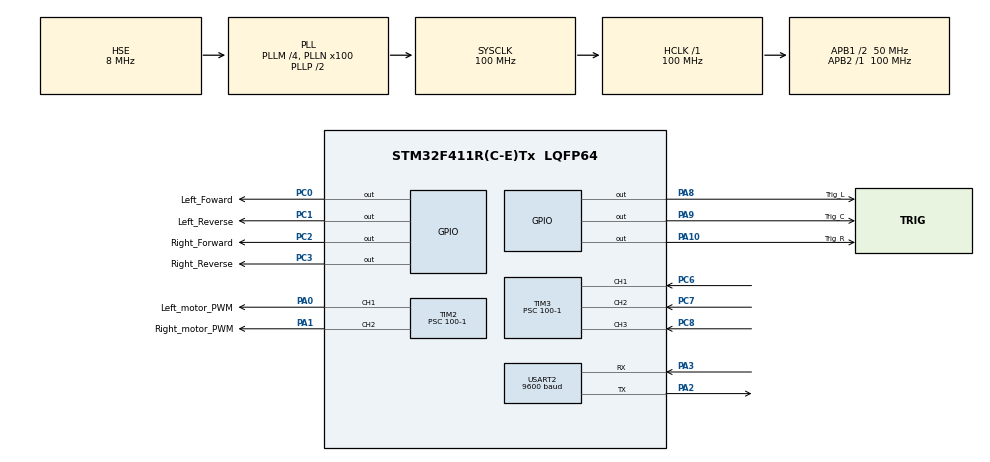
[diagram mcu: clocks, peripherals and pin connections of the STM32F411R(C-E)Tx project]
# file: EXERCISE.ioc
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FREERTOS.Tasks01=Motortask,24,128,StartMotorTask,Default,NULL,Dynamic,NULL,NULL;SensorTask,24,128,StartSensorTask,Default,NULL,Dynamic,NULL,NULL
FREERTOS.configUSE_NEWLIB_REENTRANT=1
Mcu.Family=STM32F4
Mcu.Name=STM32F411R(C-E)Tx
Mcu.Package=LQFP64
NVIC.PriorityGroup=NVIC_PRIORITYGROUP_4
NVIC.TIM1_TRG_COM_TIM11_IRQn=true\:5\:0\:false\:false\:true\:false\:false\:true\:true
NVIC.TIM3_IRQn=true\:5\:0\:false\:false\:true\:true\:true\:true\:true
NVIC.TimeBase=TIM1_TRG_COM_TIM11_IRQn
NVIC.TimeBaseIP=TIM11
NVIC.USART2_IRQn=true\:5\:0\:false\:false\:true\:true\:true\:true\:true
PA0-WKUP.GPIO_Label=Left_motor_PWM
PA0-WKUP.Signal=S_TIM2_CH1_ETR
PA1.GPIO_Label=Right_motor_PWM
PA1.Signal=S_TIM2_CH2
PA10.GPIO_Label=Trig_R
PA10.Signal=GPIO_Output
PA13.Mode=Serial_Wire
PA13.Signal=SYS_JTMS-SWDIO
PA14.Mode=Serial_Wire
PA14.Signal=SYS_JTCK-SWCLK
PA2.Mode=Asynchronous
PA2.Signal=USART2_TX
PA3.Mode=Asynchronous
PA3.Signal=USART2_RX
PA8.GPIO_Label=Trig_L
PA8.Signal=GPIO_Output
PA9.GPIO_Label=Trig_C
PA9.Signal=GPIO_Output
PC0.GPIO_Label=Left_Foward
PC0.Signal=GPIO_Output
PC1.GPIO_Label=Left_Reverse
PC1.Signal=GPIO_Output
PC2.GPIO_Label=Right_Forward
PC2.Signal=GPIO_Output
PC3.GPIO_Label=Right_Reverse
PC3.Signal=GPIO_Output
PC6.Signal=S_TIM3_CH1
PC7.Signal=S_TIM3_CH2
PC8.Signal=S_TIM3_CH3
PH0\ -\ OSC_IN.Mode=HSE-External-Clock-Source
PH0\ -\ OSC_IN.Signal=RCC_OSC_IN
PH1\ -\ OSC_OUT.Mode=HSE-External-Clock-Source
PH1\ -\ OSC_OUT.Signal=RCC_OSC_OUT
ProjectManager.HeapSize=0x200
ProjectManager.StackSize=0x400
ProjectManager.TargetToolchain=STM32CubeIDE
RCC.48MHZClocksFreq_Value=50000000
RCC.AHBFreq_Value=100000000
RCC.APB1CLKDivider=RCC_HCLK_DIV2
RCC.APB1Freq_Value=50000000
RCC.APB1TimFreq_Value=100000000
RCC.APB2Freq_Value=100000000
RCC.APB2TimFreq_Value=100000000
RCC.CortexFreq_Value=100000000
RCC.FLatency-AdvancedSettings=FLASH_LATENCY_3
RCC.HCLKFreq_Value=100000000
RCC.HSE_VALUE=8000000
RCC.HSI_VALUE=16000000
RCC.LSE_VALUE=32768
RCC.PLLM=4
RCC.PLLN=100
RCC.PLLSourceVirtual=RCC_PLLSOURCE_HSE
RCC.SYSCLKFreq_VALUE=100000000
RCC.SYSCLKSource=RCC_SYSCLKSOURCE_PLLCLK
RCC.VCOOutputFreq_Value=200000000
SH.S_TIM2_CH1_ETR.0=TIM2_CH1,PWM Generation1 CH1
SH.S_TIM2_CH2.0=TIM2_CH2,PWM Generation2 CH2
SH.S_TIM3_CH1.0=TIM3_CH1,Input_Capture1_from_TI1
SH.S_TIM3_CH2.0=TIM3_CH2,Input_Capture2_from_TI2
SH.S_TIM3_CH3.0=TIM3_CH3,Input_Capture3_from_TI3
TIM2.Channel-PWM\ Generation1\ CH1=TIM_CHANNEL_1
TIM2.Channel-PWM\ Generation2\ CH2=TIM_CHANNEL_2
TIM2.Period=1000-1
TIM2.Prescaler=100-1
TIM3.Channel-Input_Capture1_from_TI1=TIM_CHANNEL_1
TIM3.Channel-Input_Capture2_from_TI2=TIM_CHANNEL_2
TIM3.Channel-Input_Capture3_from_TI3=TIM_CHANNEL_3
TIM3.Prescaler=100-1
USART2.BaudRate=9600
USART2.VirtualMode=VM_ASYNC
VP_FREERTOS_VS_CMSIS_V2.Mode=CMSIS_V2
VP_SYS_VS_tim11.Mode=TIM11
VP_TIM2_VS_ClockSourceINT.Mode=Internal
VP_TIM3_VS_ClockSourceINT.Mode=Internal
board=NUCLEO-F411RE

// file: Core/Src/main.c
/* USER CODE BEGIN Header */
/**
  ******************************************************************************
  * @file           : main.c
  * @brief          : Main program body
  ******************************************************************************
  */
/* USER CODE END Header */
#include "main.h"
#include "cmsis_os.h"
#include "tim.h"
#include "usart.h"
#include "gpio.h"

/* USER CODE BEGIN PV */
// ⭐️ 블루투스 수신 및 상태 변수
uint8_t rx_data;
char car_mode = 'M'; // 'M'anual (수동 모드), 'A'uto (자율주행 모드)
int current_speed = 50;  // 현재 설정된 최고 속도 (0~100%)

// ⭐️ 현재 수동 조작 목표값
int manual_throttle = 0;
int manual_steering = 0;
/* USER CODE END PV */

void SystemClock_Config(void);
void MX_FREERTOS_Init(void);
/* USER CODE BEGIN PFP */
// ⭐️ 모터 제어 믹싱 함수 이름표 등록
void Motor_Drive(int throttle, int steering);
/* USER CODE END PFP */

int main(void)
{

  /* MCU Configuration--------------------------------------------------------*/

  /* Reset of all peripherals, Initializes the Flash interface and the Systick. */
  HAL_Init();

  /* Configure the system clock */
  SystemClock_Config();

  /* Initialize all configured peripherals */
  MX_GPIO_Init();
  MX_TIM2_Init();
  MX_TIM3_Init();
  MX_USART2_UART_Init();
  /* USER CODE BEGIN 2 */
  // 1. 모터 제어용 타이머(TIM2) PWM 출력 시작 (PA0, PA1)
  HAL_TIM_PWM_Start(&htim2, TIM_CHANNEL_1);
  HAL_TIM_PWM_Start(&htim2, TIM_CHANNEL_2);
  HAL_TIM_Base_Start(&htim2);

  // 2. 초음파 센서 거리 측정용 1us 스톱워치(TIM3) 시작!
  HAL_TIM_Base_Start(&htim3);

  // 3. ⭐️ 블루투스 UART 수신 인터럽트 가동 (1바이트씩 받기 시작!)
  HAL_UART_Receive_IT(&huart2, &rx_data, 1);
  /* USER CODE END 2 */

  /* Init scheduler */
  osKernelInitialize();  /* Call init function for freertos objects (in cmsis_os2.c) */
  MX_FREERTOS_Init();

  /* Start scheduler */
  osKernelStart();

  /* We should never get here as control is now taken by the scheduler */

  /* Infinite loop */
  /* USER CODE BEGIN WHILE */
  while (1)
  {
      // FreeRTOS가 실행되면 메인 루프는 더 이상 돌지 않으므로 비워둡니다.
      // (자율주행 코드는 나중에 freertos.c의 Task 안에서 작성하게 됩니다!)
  }
    /* USER CODE END WHILE */

}

void SystemClock_Config(void)
{
  RCC_OscInitTypeDef RCC_OscInitStruct = {0};
  RCC_ClkInitTypeDef RCC_ClkInitStruct = {0};

  /** Configure the main internal regulator output voltage
  */
  __HAL_RCC_PWR_CLK_ENABLE();
  __HAL_PWR_VOLTAGESCALING_CONFIG(PWR_REGULATOR_VOLTAGE_SCALE1);

  /** Initializes the RCC Oscillators according to the specified parameters
  * in the RCC_OscInitTypeDef structure.
  */
  RCC_OscInitStruct.OscillatorType = RCC_OSCILLATORTYPE_HSE;
  RCC_OscInitStruct.HSEState = RCC_HSE_BYPASS;
  RCC_OscInitStruct.PLL.PLLState = RCC_PLL_ON;
  RCC_OscInitStruct.PLL.PLLSource = RCC_PLLSOURCE_HSE;
  RCC_OscInitStruct.PLL.PLLM = 4;
  RCC_OscInitStruct.PLL.PLLN = 100;
  RCC_OscInitStruct.PLL.PLLP = RCC_PLLP_DIV2;
  RCC_OscInitStruct.PLL.PLLQ = 4;
  if (HAL_RCC_OscConfig(&RCC_OscInitStruct) != HAL_OK)
  {
    Error_Handler();
  }

  /** Initializes the CPU, AHB and APB buses clocks
  */
  RCC_ClkInitStruct.ClockType = RCC_CLOCKTYPE_HCLK|RCC_CLOCKTYPE_SYSCLK
                              |RCC_CLOCKTYPE_PCLK1|RCC_CLOCKTYPE_PCLK2;
  RCC_ClkInitStruct.SYSCLKSource = RCC_SYSCLKSOURCE_PLLCLK;
  RCC_ClkInitStruct.AHBCLKDivider = RCC_SYSCLK_DIV1;
  RCC_ClkInitStruct.APB1CLKDivider = RCC_HCLK_DIV2;
  RCC_ClkInitStruct.APB2CLKDivider = RCC_HCLK_DIV1;

  if (HAL_RCC_ClockConfig(&RCC_ClkInitStruct, FLASH_LATENCY_3) != HAL_OK)
  {
    Error_Handler();
  }
}

/* USER CODE BEGIN 4 */

// =========================================================================
// ⭐️ 1. 블루투스 UART 인터럽트 수신 처리 (테슬라 오토파일럿 방식 적용!)
// =========================================================================
void HAL_UART_RxCpltCallback(UART_HandleTypeDef *huart)
{
    if (huart->Instance == USART2) {

        // 1. 받은 알파벳(명령어) 판별
    	switch(rx_data) {
    	            // 방향키 입력
    	            case 'F': car_mode = 'M'; manual_throttle = current_speed;  manual_steering = 0; break;
    	            case 'B': car_mode = 'M'; manual_throttle = -current_speed; manual_steering = 0; break;
    	            case 'L': car_mode = 'M'; manual_throttle = 0; manual_steering = -current_speed; break;
    	            case 'R': car_mode = 'M'; manual_throttle = 0; manual_steering = current_speed;  break;

    	            // 정지 (버튼에서 손을 뗄 때 전송되는 '0' 및 Square 버튼 'S')
    	            case 'S':
    	            case '0':
    	                car_mode = 'M'; manual_throttle = 0; manual_steering = 0; break;

    	            // 속도 증가 (Triangle 버튼)
    	            case 'T':
    	                current_speed += 10;
    	                if(current_speed > 100) current_speed = 100;
    	                if(car_mode == 'M' && manual_throttle > 0) manual_throttle = current_speed;
    	                else if(car_mode == 'M' && manual_throttle < 0) manual_throttle = -current_speed;
    	                break;

    	            // 속도 감소 (Cross 버튼)
    	            case 'X':
    	                current_speed -= 10;
    	                if(current_speed < 0) current_speed = 0;
    	                if(car_mode == 'M' && manual_throttle > 0) manual_throttle = current_speed;
    	                else if(car_mode == 'M' && manual_throttle < 0) manual_throttle = -current_speed;
    	                break;

    	            // 자율주행 모드 (Start 버튼)
    	            case 'A':
    	                car_mode = 'A';
    	                break;

    	            // 수동 정지 모드 (Pause 버튼)
    	            case 'P':
    	            case 'M':
    	                car_mode = 'M'; manual_throttle = 0; manual_steering = 0; break;
    	        }

        // 2. 수동 모드일 때만 모터를 즉각 돌려줍니다! (자율주행일 땐 무시)
        if (car_mode == 'M') {
            Motor_Drive(manual_throttle, manual_steering);
        }

        // 3. 다음 알파벳을 받기 위해 다시 인터럽트 대기
        HAL_UART_Receive_IT(&huart2, &rx_data, 1);
    }
}

// =========================================================================
// ⭐️ 2. 모터 드라이브 믹싱 & 출력 함수 (PA0, PA1 / PC0~PC3)
// =========================================================================
void Motor_Drive(int throttle, int steering)
{
    // 좌/우 바퀴 속도 믹싱 계산
    int left_speed = throttle + steering;
    int right_speed = throttle - steering;

    // 안전장치: 속도는 -100 ~ 100 을 넘을 수 없음
    if(left_speed > 100) left_speed = 100;
    if(left_speed < -100) left_speed = -100;
    if(right_speed > 100) right_speed = 100;
    if(right_speed < -100) right_speed = -100;

    // ---------------- 좌측 모터 방향 제어 (PC0, PC1) ----------------
    if(left_speed >= 0) {
        HAL_GPIO_WritePin(GPIOC, GPIO_PIN_0, GPIO_PIN_SET);   // Left Forward (PC0)
        HAL_GPIO_WritePin(GPIOC, GPIO_PIN_1, GPIO_PIN_RESET); // Left Reverse (PC1)
    } else {
        HAL_GPIO_WritePin(GPIOC, GPIO_PIN_0, GPIO_PIN_RESET);
        HAL_GPIO_WritePin(GPIOC, GPIO_PIN_1, GPIO_PIN_SET);
        left_speed = -left_speed; // PWM 출력을 위해 절댓값(+)으로 변경
    }

    // ---------------- 우측 모터 방향 제어 (PC2, PC3) ----------------
    if(right_speed >= 0) {
        HAL_GPIO_WritePin(GPIOC, GPIO_PIN_2, GPIO_PIN_SET);   // Right Forward (PC2)
        HAL_GPIO_WritePin(GPIOC, GPIO_PIN_3, GPIO_PIN_RESET); // Right Reverse (PC3)
    } else {
        HAL_GPIO_WritePin(GPIOC, GPIO_PIN_2, GPIO_PIN_RESET);
        HAL_GPIO_WritePin(GPIOC, GPIO_PIN_3, GPIO_PIN_SET);
        right_speed = -right_speed; // PWM 출력을 위해 절댓값(+)으로 변경
    }

    // ---------------- PWM 속도 출력 (PA0, PA1) ----------------
    // ⚠️ 큐브MX에서 TIM2의 Counter Period (ARR) 값이 '100-1' 로 설정되어 있다고 가정합니다.
    __HAL_TIM_SET_COMPARE(&htim2, TIM_CHANNEL_1, left_speed*10);  // Left PWM (PA0)
    __HAL_TIM_SET_COMPARE(&htim2, TIM_CHANNEL_2, right_speed*10); // Right PWM (PA1)
}

/* USER CODE END 4 */

void HAL_TIM_PeriodElapsedCallback(TIM_HandleTypeDef *htim)
{
  if (htim->Instance == TIM11)
  {
    HAL_IncTick();
  }
}

void Error_Handler(void)
{
  __disable_irq();
  while (1)
  {
  }
}

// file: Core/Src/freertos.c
/* USER CODE BEGIN Header */

/**

  ******************************************************************************

  * File Name          : freertos.c

  ******************************************************************************

  */

/* USER CODE END Header */

#include "FreeRTOS.h"
#include "task.h"
#include "main.h"
#include "cmsis_os.h"

/* USER CODE BEGIN Includes */

#include "tim.h"

extern void Motor_Drive(int throttle, int steering);

extern char car_mode;

/* USER CODE END Includes */

/* USER CODE BEGIN PTD */

typedef enum {

    STATE_STRAIGHT = 0,

    STATE_TURN_LEFT,

    STATE_TURN_RIGHT,

    STATE_REVERSE_AVOID

} DrivingState;

/* USER CODE END PTD */

/* USER CODE BEGIN Variables */

uint32_t distance_L = 0;

uint32_t distance_C = 0;

uint32_t distance_R = 0;

// Input Capture 상태 관리 배열 (0: Left, 1: Center, 2: Right)

uint8_t ic_flag[3] = {0, 0, 0};

uint32_t ic_val1[3] = {0, 0, 0};

uint32_t ic_val2[3] = {0, 0, 0};

void delay_us(uint16_t time)

{

    uint32_t delay_count = time * (100 / 4);

    while(delay_count--) {

        __asm("nop");

    }

}

/* USER CODE END Variables */
/* Definitions for Motortask */
osThreadId_t MotortaskHandle;
const osThreadAttr_t Motortask_attributes = {
  .name = "Motortask",
  .stack_size = 128 * 4,
  .priority = (osPriority_t) osPriorityNormal,
};
/* Definitions for SensorTask */
osThreadId_t SensorTaskHandle;
const osThreadAttr_t SensorTask_attributes = {
  .name = "SensorTask",
  .stack_size = 128 * 4,
  .priority = (osPriority_t) osPriorityNormal,
};

void StartMotorTask(void *argument);
void StartSensorTask(void *argument);

void MX_FREERTOS_Init(void); /* (MISRA C 2004 rule 8.1) */

void MX_FREERTOS_Init(void) {

  /* Create the thread(s) */
  /* creation of Motortask */
  MotortaskHandle = osThreadNew(StartMotorTask, NULL, &Motortask_attributes);

  /* creation of SensorTask */
  SensorTaskHandle = osThreadNew(StartSensorTask, NULL, &SensorTask_attributes);

}

void StartMotorTask(void *argument)
{
  /* USER CODE BEGIN StartMotorTask */

  HAL_TIM_IC_Start_IT(&htim3, TIM_CHANNEL_1);

  HAL_TIM_IC_Start_IT(&htim3, TIM_CHANNEL_2);

  HAL_TIM_IC_Start_IT(&htim3, TIM_CHANNEL_3);

  static float previous_error = 0;

  static float filtered_L = 0, filtered_R = 0, filtered_C = 0;

  static float current_steering = 0;

  static DrivingState current_state = STATE_STRAIGHT;

  for(;;)

  {

      int raw_L = (distance_L == 0 || distance_L > 40) ? 40 : distance_L;

      int raw_R = (distance_R == 0 || distance_R > 40) ? 40 : distance_R;

      int raw_C = (distance_C == 0 || distance_C > 50) ? 50 : distance_C;

      filtered_L = (filtered_L * 0.7f) + (raw_L * 0.3f);

      filtered_R = (filtered_R * 0.7f) + (raw_R * 0.3f);

      filtered_C = (filtered_C * 0.7f) + (raw_C * 0.3f);

      if (car_mode != 'A') {

          osDelay(20);

          continue;

      }

      int throttle = 0;

      float target_steering = 0;

      // =========================================================

      // 🧠 두뇌 영역: 판단 로직

      // =========================================================

      if (current_state == STATE_REVERSE_AVOID) {

          if (filtered_L > 35.0f) {

              current_state = STATE_TURN_LEFT;

          }

          else if (filtered_R > 35.0f) {

              current_state = STATE_TURN_RIGHT;

          }

          else if (filtered_C > 20.0f && filtered_L > 10.0f && filtered_R > 10.0f) {

              current_state = STATE_STRAIGHT;

          }

      }

      else if (filtered_C <= 12.0f || filtered_L <= 7.0f || filtered_R <= 7.0f) {

          current_state = STATE_REVERSE_AVOID;

      }

      else if (current_state == STATE_TURN_LEFT || current_state == STATE_TURN_RIGHT) {

          if (filtered_C > 20.0f) {

              current_state = STATE_STRAIGHT;

          }

      }

      else if (filtered_C <= 43.0f) {

          if (filtered_L > 35.0f) {

              current_state = STATE_TURN_LEFT;

          }

          else if (filtered_R > 35.0f) {

              current_state = STATE_TURN_RIGHT;

          }

          else {

              current_state = STATE_REVERSE_AVOID;

          }

      }

      else {

          current_state = STATE_STRAIGHT;

      }

      // =========================================================

      // 🚗 행동 영역: 모터 제어 로직

      // =========================================================

      switch (current_state)

      {

          case STATE_STRAIGHT:

          {

              throttle = 52; // 고속 주행

              float error = filtered_R - filtered_L;

              float derivative = error - previous_error;

              // 직진 보정 (Kp: 3.5, Kd: 3.5)

              target_steering = (error * 3.5f) + (derivative * 3.5f);

              previous_error = error;

              if (target_steering > 25.0f) target_steering = 25.0f;

              if (target_steering < -25.0f) target_steering = -25.0f;

              break;

          }

          case STATE_TURN_LEFT:

              throttle = 15;

              target_steering = -40.0f;

              break;

          case STATE_TURN_RIGHT:

              throttle = 15;

              target_steering = 40.0f;

              break;

          case STATE_REVERSE_AVOID:

              throttle = -30; // 강력한 후진 브레이크

              if (filtered_C <= 12.0f && filtered_L > 5.0f && filtered_R > 5.0f) {

                  // 정면만 막혔을 때 (넓은 쪽으로 꼬리 빼기)

                  target_steering = (filtered_L > filtered_R) ? 60.0f : -60.0f;

              }

              else if (filtered_L <= 5.0f) {

                  // 왼쪽 벽에 박기 직전: 핸들 왼쪽 꺾고 후진해서 차체 펴기

                  target_steering = -60.0f;

              }

              else if (filtered_R <= 5.0f) {

                  // 오른쪽 벽에 박기 직전: 핸들 오른쪽 꺾고 후진해서 차체 펴기

                  target_steering = 60.0f;

              }

              break;

      }

      // 목표 조향값 즉각 반영

      current_steering = (current_steering * 0.2f) + (target_steering * 0.8f);

      Motor_Drive(throttle, (int)current_steering);

      osDelay(20);

  }

  /* USER CODE END StartMotorTask */
}

void StartSensorTask(void *argument)
{
  /* USER CODE BEGIN StartSensorTask */

  for(;;)

  {

        HAL_GPIO_WritePin(Trig_L_GPIO_Port, Trig_L_Pin, GPIO_PIN_SET);

        delay_us(10);

        HAL_GPIO_WritePin(Trig_L_GPIO_Port, Trig_L_Pin, GPIO_PIN_RESET);

        osDelay(15);

        HAL_GPIO_WritePin(Trig_C_GPIO_Port, Trig_C_Pin, GPIO_PIN_SET);

        delay_us(10);

        HAL_GPIO_WritePin(Trig_C_GPIO_Port, Trig_C_Pin, GPIO_PIN_RESET);

        osDelay(15);

        HAL_GPIO_WritePin(Trig_R_GPIO_Port, Trig_R_Pin, GPIO_PIN_SET);

        delay_us(10);

        HAL_GPIO_WritePin(Trig_R_GPIO_Port, Trig_R_Pin, GPIO_PIN_RESET);

        osDelay(15);

  }

  /* USER CODE END StartSensorTask */
}

/* USER CODE BEGIN Application */
void HAL_TIM_IC_CaptureCallback(TIM_HandleTypeDef *htim)
{
    if (htim->Instance == TIM3)
    {
        uint8_t ch_idx = 0;
        uint32_t channel = 0;
        uint32_t *distance_ptr = NULL;

        // 인터럽트가 발생한 채널 식별 및 변수 매핑
        if (htim->Channel == HAL_TIM_ACTIVE_CHANNEL_1) {
            ch_idx = 0; channel = TIM_CHANNEL_1; distance_ptr = &distance_L;
        } else if (htim->Channel == HAL_TIM_ACTIVE_CHANNEL_2) {
            ch_idx = 1; channel = TIM_CHANNEL_2; distance_ptr = &distance_C;
        } else if (htim->Channel == HAL_TIM_ACTIVE_CHANNEL_3) {
            ch_idx = 2; channel = TIM_CHANNEL_3; distance_ptr = &distance_R;
        } else {
            return;
        }

        // Echo 핀 상승 에지 (신호 시작)
        if (ic_flag[ch_idx] == 0)
        {
            ic_val1[ch_idx] = HAL_TIM_ReadCapturedValue(htim, channel);
            ic_flag[ch_idx] = 1;
            __HAL_TIM_SET_CAPTUREPOLARITY(htim, channel, TIM_INPUTCHANNELPOLARITY_FALLING);
        }
        // Echo 핀 하강 에지 (신호 종료)
        else if (ic_flag[ch_idx] == 1)
        {
            ic_val2[ch_idx] = HAL_TIM_ReadCapturedValue(htim, channel);

            // 타이머 카운터 오버플로우 고려한 시간차 계산
            uint32_t diff = 0;
            if (ic_val2[ch_idx] > ic_val1[ch_idx]) {
                diff = ic_val2[ch_idx] - ic_val1[ch_idx];
            } else {
                diff = (0xFFFF - ic_val1[ch_idx]) + ic_val2[ch_idx];
            }

            // 거리(cm) 변환 (음속 340m/s 기준)
            *distance_ptr = diff * 0.034f / 2.0f;

            // 다음 측정을 위해 플래그 및 극성 초기화
            ic_flag[ch_idx] = 0;
            __HAL_TIM_SET_CAPTUREPOLARITY(htim, channel, TIM_INPUTCHANNELPOLARITY_RISING);
        }
    }
}
/* USER CODE END Application */
